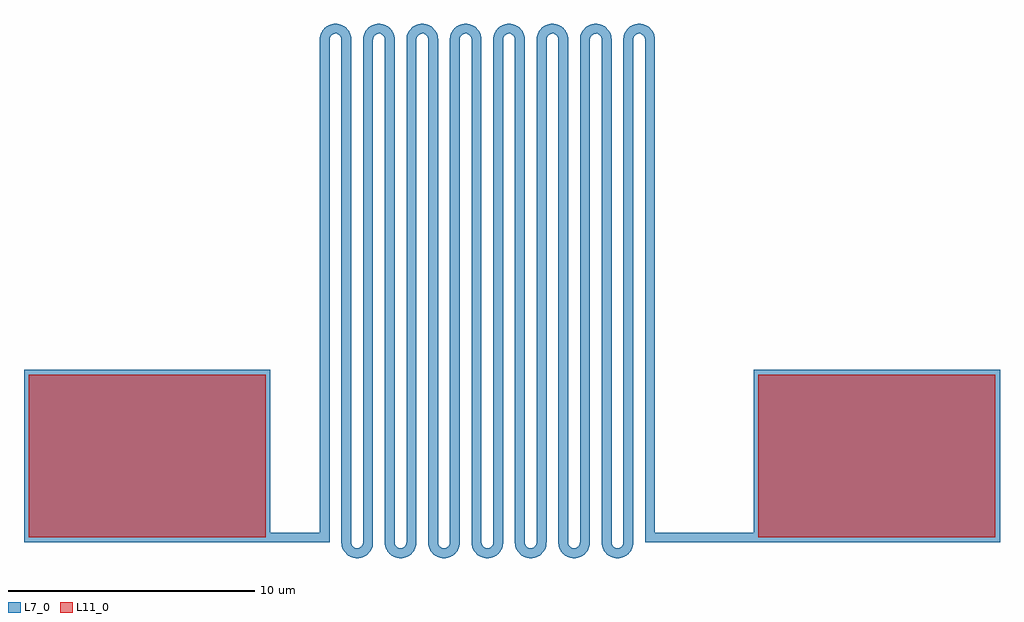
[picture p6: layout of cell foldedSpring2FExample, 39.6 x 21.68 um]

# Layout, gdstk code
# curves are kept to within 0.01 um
import gdstk
lib = gdstk.Library(unit=1e-6, precision=1e-09)
def R(c, l, rs):  # rectangles x0, y0, x1, y1
    for r in rs: c.add(gdstk.rectangle(r[:2], r[2:], *l))
def A(c, l, x, y, w, h, nx, ny, dx, dy):  # array of equal rectangles
    R(c, l, [(x+i*dx, y+j*dy, x+i*dx+w, y+j*dy+h) for i in range(nx) for j in range(ny)])
def P(c, l, *ps):  # polygons
    for p in ps: c.add(gdstk.Polygon(p, *l))
L7_0 = (7, 0)
L11_0 = (11, 0)

foldedspring2fexample = lib.new_cell('foldedSpring2FExample')
A(foldedspring2fexample, L7_0, 13.76, 0, 0.4, 10.2, 7, 1, 1.76, 0)
P(foldedspring2fexample, L7_0, [(0,0),(0,7),(10,7),(10,0.4),(12,0.4),(12,10.2),(12.4,10.2),(12.4,0)],
  [(13.52,-0.64),(13.304,-0.603),(13.164,-0.532),(13.067,-0.453),(12.941,-0.274),(12.899,-0.156),(12.881,-0.031),(12.88,10.2),(13.28,10.2),(13.281,-0.024),(13.308,-0.113),(13.368,-0.186),(13.45,-0.23),(13.532,-0.24),(13.612,-0.222),(13.69,-0.17),(13.742,-0.092),(13.76,0),(14.16,0),(14.123,-0.216),(14.052,-0.356),(13.973,-0.453),(13.876,-0.532),(13.736,-0.603)],
  [(15.28,-0.64),(15.064,-0.603),(14.924,-0.532),(14.827,-0.453),(14.701,-0.274),(14.659,-0.156),(14.641,-0.031),(14.64,10.2),(15.04,10.2),(15.041,-0.024),(15.068,-0.113),(15.128,-0.186),(15.21,-0.23),(15.292,-0.24),(15.372,-0.222),(15.45,-0.17),(15.502,-0.092),(15.52,0),(15.92,0),(15.883,-0.216),(15.812,-0.356),(15.733,-0.453),(15.636,-0.532),(15.496,-0.603)],
  [(17.04,-0.64),(16.824,-0.603),(16.684,-0.532),(16.587,-0.453),(16.461,-0.274),(16.419,-0.156),(16.401,-0.031),(16.4,10.2),(16.8,10.2),(16.801,-0.024),(16.828,-0.113),(16.888,-0.186),(16.97,-0.23),(17.052,-0.24),(17.132,-0.222),(17.21,-0.17),(17.262,-0.092),(17.28,0),(17.68,0),(17.643,-0.216),(17.572,-0.356),(17.493,-0.453),(17.396,-0.532),(17.256,-0.603)],
  [(18.8,-0.64),(18.584,-0.603),(18.444,-0.532),(18.347,-0.453),(18.221,-0.274),(18.179,-0.156),(18.161,-0.031),(18.16,10.2),(18.56,10.2),(18.561,-0.024),(18.588,-0.113),(18.648,-0.186),(18.73,-0.23),(18.812,-0.24),(18.892,-0.222),(18.97,-0.17),(19.022,-0.092),(19.04,0),(19.44,0),(19.403,-0.216),(19.332,-0.356),(19.253,-0.453),(19.156,-0.532),(19.016,-0.603)],
  [(20.56,-0.64),(20.344,-0.603),(20.204,-0.532),(20.107,-0.453),(19.981,-0.274),(19.939,-0.156),(19.921,-0.031),(19.92,10.2),(20.32,10.2),(20.321,-0.024),(20.348,-0.113),(20.408,-0.186),(20.49,-0.23),(20.572,-0.24),(20.652,-0.222),(20.73,-0.17),(20.782,-0.092),(20.8,0),(21.2,0),(21.163,-0.216),(21.092,-0.356),(21.013,-0.453),(20.916,-0.532),(20.776,-0.603)],
  [(22.32,-0.64),(22.104,-0.603),(21.964,-0.532),(21.867,-0.453),(21.741,-0.274),(21.699,-0.156),(21.681,-0.031),(21.68,10.2),(22.08,10.2),(22.081,-0.024),(22.108,-0.113),(22.168,-0.186),(22.25,-0.23),(22.332,-0.24),(22.412,-0.222),(22.49,-0.17),(22.542,-0.092),(22.56,0),(22.96,0),(22.923,-0.216),(22.852,-0.356),(22.773,-0.453),(22.676,-0.532),(22.536,-0.603)],
  [(24.08,-0.64),(23.864,-0.603),(23.724,-0.532),(23.627,-0.453),(23.501,-0.274),(23.459,-0.156),(23.441,-0.031),(23.44,10.2),(23.84,10.2),(23.841,-0.024),(23.868,-0.113),(23.928,-0.186),(24.01,-0.23),(24.092,-0.24),(24.172,-0.222),(24.25,-0.17),(24.302,-0.092),(24.32,0),(24.72,0),(24.683,-0.216),(24.612,-0.356),(24.533,-0.453),(24.436,-0.532),(24.296,-0.603)],
  [(25.2,0),(25.2,0.4),(25.2,10.2),(25.6,10.2),(25.6,0.4),(29.6,0.4),(29.6,7),(39.6,7),(39.6,0)],
  [(12,10.2),(12.003,20.463),(12.061,20.674),(12.145,20.806),(12.234,20.895),(12.424,21.003),(12.577,21.037),(12.703,21.037),(12.914,20.979),(13.093,20.853),(13.219,20.674),(13.261,20.556),(13.279,20.431),(13.28,10.2),(12.88,10.2),(12.88,20.412),(12.862,20.492),(12.81,20.57),(12.732,20.622),(12.652,20.64),(12.548,20.622),(12.47,20.57),(12.418,20.492),(12.4,20.412),(12.4,10.2)],
  [(13.76,10.2),(13.763,20.463),(13.821,20.674),(13.905,20.806),(13.994,20.895),(14.184,21.003),(14.337,21.037),(14.463,21.037),(14.674,20.979),(14.853,20.853),(14.979,20.674),(15.021,20.556),(15.039,20.431),(15.04,10.2),(14.64,10.2),(14.64,20.412),(14.622,20.492),(14.57,20.57),(14.492,20.622),(14.412,20.64),(14.308,20.622),(14.23,20.57),(14.178,20.492),(14.16,20.412),(14.16,10.2)],
  [(15.52,10.2),(15.523,20.463),(15.581,20.674),(15.665,20.806),(15.754,20.895),(15.944,21.003),(16.097,21.037),(16.223,21.037),(16.434,20.979),(16.613,20.853),(16.739,20.674),(16.781,20.556),(16.799,20.431),(16.8,10.2),(16.4,10.2),(16.4,20.412),(16.382,20.492),(16.33,20.57),(16.252,20.622),(16.172,20.64),(16.068,20.622),(15.99,20.57),(15.938,20.492),(15.92,20.412),(15.92,10.2)],
  [(17.28,10.2),(17.283,20.463),(17.341,20.674),(17.425,20.806),(17.514,20.895),(17.704,21.003),(17.857,21.037),(17.983,21.037),(18.194,20.979),(18.373,20.853),(18.499,20.674),(18.541,20.556),(18.559,20.431),(18.56,10.2),(18.16,10.2),(18.16,20.412),(18.142,20.492),(18.09,20.57),(18.012,20.622),(17.932,20.64),(17.828,20.622),(17.75,20.57),(17.698,20.492),(17.68,20.412),(17.68,10.2)],
  [(19.04,10.2),(19.043,20.463),(19.101,20.674),(19.185,20.806),(19.274,20.895),(19.464,21.003),(19.617,21.037),(19.743,21.037),(19.8,21.029),(19.8,20.608),(19.692,20.64),(19.567,20.612),(19.48,20.533),(19.44,20.412),(19.44,10.2)],
  [(19.92,10.2),(19.92,20.412),(19.88,20.533),(19.8,20.608),(19.8,21.029),(19.896,21.003),(20.009,20.949),(20.175,20.806),(20.283,20.616),(20.32,20.4),(20.32,10.2)],
  [(20.8,10.2),(20.803,20.463),(20.861,20.674),(20.945,20.806),(21.034,20.895),(21.224,21.003),(21.377,21.037),(21.503,21.037),(21.714,20.979),(21.893,20.853),(22.019,20.674),(22.061,20.556),(22.079,20.431),(22.08,10.2),(21.68,10.2),(21.68,20.412),(21.662,20.492),(21.61,20.57),(21.532,20.622),(21.452,20.64),(21.348,20.622),(21.27,20.57),(21.218,20.492),(21.2,20.412),(21.2,10.2)],
  [(22.56,10.2),(22.563,20.463),(22.621,20.674),(22.705,20.806),(22.794,20.895),(22.984,21.003),(23.137,21.037),(23.263,21.037),(23.474,20.979),(23.653,20.853),(23.779,20.674),(23.821,20.556),(23.839,20.431),(23.84,10.2),(23.44,10.2),(23.44,20.412),(23.422,20.492),(23.37,20.57),(23.292,20.622),(23.212,20.64),(23.108,20.622),(23.03,20.57),(22.978,20.492),(22.96,20.412),(22.96,10.2)],
  [(24.32,10.2),(24.323,20.463),(24.381,20.674),(24.465,20.806),(24.554,20.895),(24.744,21.003),(24.897,21.037),(25.023,21.037),(25.234,20.979),(25.413,20.853),(25.539,20.674),(25.581,20.556),(25.599,20.431),(25.6,10.2),(25.2,10.2),(25.2,20.412),(25.182,20.492),(25.13,20.57),(25.052,20.622),(24.972,20.64),(24.868,20.622),(24.79,20.57),(24.738,20.492),(24.72,20.412),(24.72,10.2)])
R(foldedspring2fexample, L11_0, [(0.2,0.2,9.8,6.8), (29.8,0.2,39.4,6.8)])

lib.write_gds('foldedSpring2FExample.gds')
